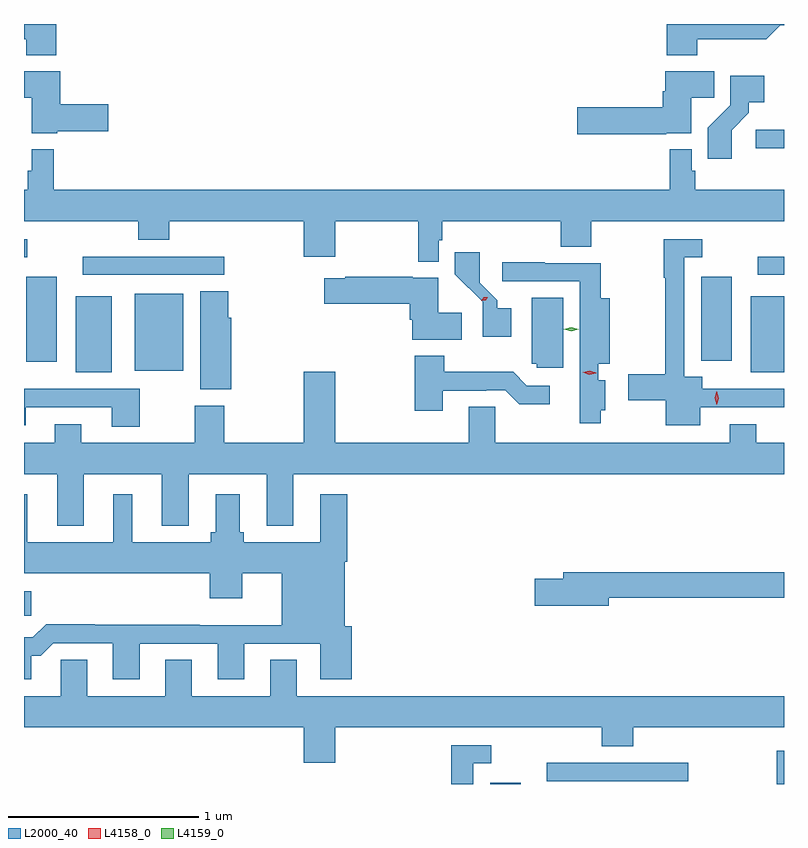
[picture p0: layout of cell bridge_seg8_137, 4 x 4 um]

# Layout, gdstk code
import gdstk
lib = gdstk.Library(unit=1e-6, precision=1e-09)
def R(c, l, rs):  # rectangles x0, y0, x1, y1
    for r in rs: c.add(gdstk.rectangle(r[:2], r[2:], *l))
def P(c, l, *ps):  # polygons
    for p in ps: c.add(gdstk.Polygon(p, *l))
L2000_40 = (2000, 40)
L4158_0 = (4158, 0)
L4159_0 = (4159, 0)

bridge_seg8_137 = lib.new_cell('bridge_seg8_137')
R(bridge_seg8_137, L2000_40, [(501.653,1157.493,501.814,1157.5), (503.161,1157.493,503.199,1157.668), (501.951,1157.508,502.696,1157.604), (499.199,1158.379,499.237,1158.508), (499.472,1159.661,499.66,1160.059), (503.024,1159.661,503.199,1160.059), (499.781,1159.667,500.038,1160.074), (499.211,1159.716,499.372,1160.164), (502.763,1159.721,502.924,1160.164), (499.509,1160.172,500.254,1160.268), (503.061,1160.172,503.199,1160.268), (499.199,1160.265,499.216,1160.361), (503.049,1160.839,503.199,1160.937)])
P(bridge_seg8_137, L2000_40, [(499.37,1161.493),(499.199,1161.493),(499.199,1161.414),(499.21,1161.414),(499.21,1161.329),(499.37,1161.329)],
  [(502.743,1161.414),(503.006,1161.414),(503.006,1161.413),(503.105,1161.413),(503.178,1161.486),(503.199,1161.486),(503.199,1161.493),(502.583,1161.493),(502.583,1161.329),(502.743,1161.329)],
  [(499.374,1160.929),(499.642,1160.929),(499.642,1161.071),(499.391,1161.071),(499.391,1161.244),(499.199,1161.244),(499.199,1161.106),(499.241,1161.106),(499.241,1160.918),(499.374,1160.918)],
  [(502.578,1160.918),(502.711,1160.918),(502.711,1161.106),(502.832,1161.106),(502.832,1161.244),(502.574,1161.244),(502.574,1161.14),(502.562,1161.14),(502.562,1161.056),(502.11,1161.056),(502.11,1160.914),(502.578,1160.914)],
  [(502.924,1160.935),(503.014,1161.025),(503.014,1161.08),(503.095,1161.08),(503.095,1161.22),(502.917,1161.22),(502.917,1161.065),(502.798,1160.946),(502.798,1160.784),(502.924,1160.784)],
  [(501.381,1160.355),(501.401,1160.355),(501.401,1160.456),(502.025,1160.456),(502.025,1160.32),(502.185,1160.32),(502.185,1160.456),(503.199,1160.456),(503.199,1160.62),(502.733,1160.62),(502.733,1160.721),(502.713,1160.721),(502.713,1160.833),(502.597,1160.833),(502.597,1160.62),(499.355,1160.62),(499.355,1160.833),(499.239,1160.833),(499.239,1160.721),(499.219,1160.721),(499.219,1160.62),(499.199,1160.62),(499.199,1160.456),(499.799,1160.456),(499.799,1160.357),(499.964,1160.357),(499.964,1160.456),(500.672,1160.456),(500.672,1160.268),(500.836,1160.268),(500.836,1160.456),(501.273,1160.456),(501.273,1160.243),(501.381,1160.243)],
  [(502.759,1159.476),(503.199,1159.476),(503.199,1159.572),(502.768,1159.572),(502.768,1159.636),(502.674,1159.636),(502.674,1160.265),(502.768,1160.265),(502.768,1160.361),(502.566,1160.361),(502.566,1160.158),(502.573,1160.158),(502.573,1159.649),(502.38,1159.649),(502.38,1159.514),(502.577,1159.514),(502.577,1159.382),(502.759,1159.382)],
  [(501.763,1159.996),(501.689,1159.996),(501.689,1160.039),(501.597,1160.131),(501.597,1160.293),(501.466,1160.293),(501.466,1160.176),(501.613,1160.03),(501.613,1159.848),(501.763,1159.848)],
  [(502.234,1159.46),(502.258,1159.46),(502.258,1159.618),(502.222,1159.618),(502.222,1159.706),(502.282,1159.706),(502.282,1160.05),(502.234,1160.05),(502.234,1160.235),(501.941,1160.235),(501.941,1160.238),(501.717,1160.238),(501.717,1160.139),(502.124,1160.139),(502.124,1159.392),(502.234,1159.392)],
  [(501.502,1159.972),(501.379,1159.972),(501.379,1160.158),(501.246,1160.158),(501.246,1160.163),(500.89,1160.163),(500.89,1160.155),(500.778,1160.155),(500.778,1160.021),(501.23,1160.021),(501.23,1159.937),(501.242,1159.937),(501.242,1159.832),(501.502,1159.832)],
  [(500.289,1159.947),(500.273,1159.947),(500.273,1160.087),(500.126,1160.087),(500.126,1159.571),(500.289,1159.571)],
  [(502.036,1160.053),(501.872,1160.053),(501.872,1159.704),(501.897,1159.704),(501.897,1159.683),(502.036,1159.683)],
  [(501.403,1159.563),(501.632,1159.563),(501.632,1159.566),(501.732,1159.566),(501.805,1159.493),(501.967,1159.493),(501.967,1159.59),(501.846,1159.59),(501.773,1159.663),(501.411,1159.663),(501.411,1159.747),(501.256,1159.747),(501.256,1159.458),(501.403,1159.458)],
  [(499.513,1159.124),(499.925,1159.124),(499.925,1158.851),(500.065,1158.851),(500.065,1159.124),(500.477,1159.124),(500.477,1158.851),(500.617,1158.851),(500.617,1159.124),(503.199,1159.124),(503.199,1159.288),(503.053,1159.288),(503.053,1159.387),(502.913,1159.387),(502.913,1159.288),(501.678,1159.288),(501.678,1159.478),(501.539,1159.478),(501.539,1159.288),(500.836,1159.288),(500.836,1159.663),(500.672,1159.663),(500.672,1159.288),(500.253,1159.288),(500.253,1159.483),(500.098,1159.483),(500.098,1159.288),(499.501,1159.288),(499.501,1159.387),(499.361,1159.387),(499.361,1159.288),(499.199,1159.288),(499.199,1159.124),(499.373,1159.124),(499.373,1158.851),(499.513,1158.851)],
  [(499.809,1159.572),(499.199,1159.572),(499.199,1159.382),(499.207,1159.382),(499.207,1159.476),(499.661,1159.476),(499.661,1159.374),(499.809,1159.374)],
  [(499.237,1158.167),(499.286,1158.167),(499.353,1158.234),(499.667,1158.234),(499.667,1158.045),(499.807,1158.045),(499.807,1158.231),(500.219,1158.231),(500.219,1158.045),(500.359,1158.045),(500.359,1158.231),(500.759,1158.231),(500.759,1158.045),(500.924,1158.045),(500.924,1158.324),(500.887,1158.324),(500.887,1158.662),(500.9,1158.662),(500.9,1159.018),(500.759,1159.018),(500.759,1158.766),(500.355,1158.766),(500.355,1158.819),(500.335,1158.819),(500.335,1159.018),(500.207,1159.018),(500.207,1158.819),(500.182,1158.819),(500.182,1158.766),(499.768,1158.766),(499.768,1159.018),(499.67,1159.018),(499.67,1158.766),(499.216,1158.766),(499.216,1159.018),(499.199,1159.018),(499.199,1158.602),(500.177,1158.602),(500.177,1158.471),(500.347,1158.471),(500.347,1158.602),(500.555,1158.602),(500.555,1158.328),(500.123,1158.328),(500.123,1158.332),(499.571,1158.332),(499.571,1158.335),(499.316,1158.335),(499.246,1158.265),(499.199,1158.265),(499.199,1158.045),(499.237,1158.045)],
  [(502.276,1158.472),(503.199,1158.472),(503.199,1158.608),(502.037,1158.608),(502.037,1158.572),(501.888,1158.572),(501.888,1158.43),(502.276,1158.43)],
  [(500.836,1157.792),(502.241,1157.792),(502.241,1157.693),(502.406,1157.693),(502.406,1157.792),(503.199,1157.792),(503.199,1157.956),(500.635,1157.956),(500.635,1158.146),(500.495,1158.146),(500.495,1157.956),(500.083,1157.956),(500.083,1158.146),(499.943,1158.146),(499.943,1157.956),(499.531,1157.956),(499.531,1158.146),(499.392,1158.146),(499.392,1157.956),(499.199,1157.956),(499.199,1157.792),(500.672,1157.792),(500.672,1157.604),(500.836,1157.604)],
  [(501.564,1157.601),(501.658,1157.601),(501.658,1157.697),(501.448,1157.697),(501.448,1157.493),(501.564,1157.493)])
P(bridge_seg8_137, L4158_0, [(502.844,1159.489),(502.844,1159.489),(502.835,1159.525),(502.846,1159.56),(502.846,1159.56),(502.846,1159.56),(502.855,1159.524),(502.844,1159.489)],
  [(502.175,1159.648),(502.139,1159.659),(502.139,1159.659),(502.139,1159.659),(502.176,1159.668),(502.211,1159.657),(502.211,1159.656),(502.211,1159.656)],
  [(501.606,1160.036),(501.606,1160.037),(501.618,1160.055),(501.64,1160.056),(501.64,1160.056),(501.64,1160.056),(501.628,1160.038),(501.607,1160.036)])
P(bridge_seg8_137, L4159_0, [(502.08,1159.876),(502.039,1159.886),(502.039,1159.886),(502.039,1159.886),(502.08,1159.896),(502.12,1159.887),(502.12,1159.887),(502.12,1159.886)])

lib.write_gds('bridge_seg8_137.gds')
